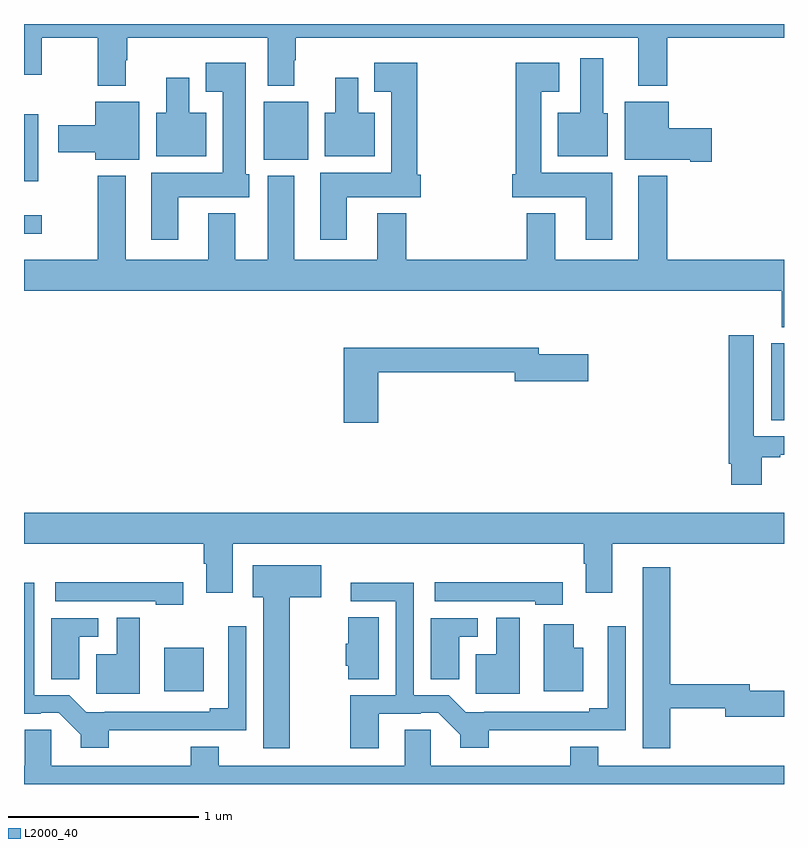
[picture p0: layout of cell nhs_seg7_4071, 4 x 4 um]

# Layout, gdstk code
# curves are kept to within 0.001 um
import gdstk
lib = gdstk.Library(unit=1e-6, precision=1e-09)
def R(c, l, rs):  # rectangles x0, y0, x1, y1
    for r in rs: c.add(gdstk.rectangle(r[:2], r[2:], *l))
def P(c, l, *ps):  # polygons
    for p in ps: c.add(gdstk.Polygon(p, *l))
L2000_40 = (2000, 40)

nhs_seg7_4071 = lib.new_cell('nhs_seg7_4071')
R(nhs_seg7_4071, L2000_40, [(369.737,1018.487,369.946,1018.717), (372.932,1019.914,373,1020.319), (369,1020.896,369.094,1020.993), (369,1021.172,369.076,1021.525), (370.262,1021.286,370.495,1021.591)])
P(nhs_seg7_4071, L2000_40, [(369.535,1021.808),(369.543,1021.808),(369.543,1021.928),(370.283,1021.928),(370.283,1021.676),(370.423,1021.676),(370.423,1021.808),(370.431,1021.808),(370.431,1021.928),(372.233,1021.928),(372.233,1021.676),(372.386,1021.676),(372.386,1021.928),(373,1021.928),(373,1022),(369,1022),(369,1021.734),(369.093,1021.734),(369.093,1021.928),(369.388,1021.928),(369.388,1021.676),(369.535,1021.676)],
  [(372.073,1021.53),(372.049,1021.53),(372.049,1021.819),(371.927,1021.819),(371.927,1021.534),(371.81,1021.534),(371.81,1021.304),(372.073,1021.304)],
  [(369.811,1021.088),(370.186,1021.088),(370.186,1021.209),(370.168,1021.209),(370.168,1021.795),(369.956,1021.795),(369.956,1021.643),(370.046,1021.643),(370.046,1021.216),(369.671,1021.216),(369.671,1020.864),(369.811,1020.864)],
  [(372.097,1021.216),(371.722,1021.216),(371.722,1021.643),(371.818,1021.643),(371.818,1021.795),(371.588,1021.795),(371.588,1021.209),(371.57,1021.209),(371.57,1021.088),(371.957,1021.088),(371.957,1020.864),(372.097,1020.864)],
  [(370.699,1021.088),(371.087,1021.088),(371.087,1021.206),(371.069,1021.206),(371.069,1021.795),(370.844,1021.795),(370.844,1021.643),(370.934,1021.643),(370.934,1021.216),(370.559,1021.216),(370.559,1020.864),(370.699,1020.864)],
  [(370.846,1021.534),(370.759,1021.534),(370.759,1021.717),(370.637,1021.717),(370.637,1021.534),(370.583,1021.534),(370.583,1021.304),(370.846,1021.304)],
  [(369.958,1021.534),(369.871,1021.534),(369.871,1021.717),(369.749,1021.717),(369.749,1021.534),(369.695,1021.534),(369.695,1021.304),(369.958,1021.304)],
  [(369.607,1021.591),(369.374,1021.591),(369.374,1021.467),(369.18,1021.467),(369.18,1021.325),(369.374,1021.325),(369.374,1021.286),(369.607,1021.286)],
  [(372.619,1021.452),(372.394,1021.452),(372.394,1021.591),(372.161,1021.591),(372.161,1021.286),(372.506,1021.286),(372.506,1021.274),(372.619,1021.274)],
  [(373,1020.76),(372.386,1020.76),(372.386,1021.201),(372.233,1021.201),(372.233,1020.76),(371.797,1020.76),(371.797,1021.003),(371.645,1021.003),(371.645,1020.76),(371.012,1020.76),(371.012,1021.003),(370.859,1021.003),(370.859,1020.76),(370.423,1020.76),(370.423,1021.201),(370.283,1021.201),(370.283,1020.76),(370.111,1020.76),(370.111,1021.003),(369.971,1021.003),(369.971,1020.76),(369.535,1020.76),(369.535,1021.201),(369.388,1021.201),(369.388,1020.76),(369,1020.76),(369,1020.596),(372.989,1020.596),(372.989,1020.404),(373,1020.404)],
  [(372.883,1019.721),(372.979,1019.721),(372.979,1019.733),(373,1019.733),(373,1019.829),(372.841,1019.829),(372.841,1020.361),(372.71,1020.361),(372.71,1019.686),(372.722,1019.686),(372.722,1019.574),(372.883,1019.574)],
  [(370.865,1020.166),(371.582,1020.166),(371.582,1020.119),(371.971,1020.119),(371.971,1020.261),(371.71,1020.261),(371.71,1020.295),(370.682,1020.295),(370.682,1019.901),(370.865,1019.901)],
  [(370.099,1019.264),(371.945,1019.264),(371.945,1019.158),(371.957,1019.158),(371.957,1019.007),(372.097,1019.007),(372.097,1019.264),(373,1019.264),(373,1019.428),(369,1019.428),(369,1019.264),(369.947,1019.264),(369.947,1019.158),(369.959,1019.158),(369.959,1019.007),(370.099,1019.007)],
  [(370.398,1018.982),(370.564,1018.982),(370.564,1019.152),(370.203,1019.152),(370.203,1018.982),(370.259,1018.982),(370.259,1018.188),(370.398,1018.188)],
  [(372.401,1018.398),(372.692,1018.398),(372.692,1018.355),(373,1018.355),(373,1018.49),(372.82,1018.49),(372.82,1018.526),(372.401,1018.526),(372.401,1019.14),(372.257,1019.14),(372.257,1018.188),(372.401,1018.188)],
  [(369.838,1019.062),(369.165,1019.062),(369.165,1018.961),(369.693,1018.961),(369.693,1018.943),(369.838,1018.943)],
  [(371.836,1019.062),(371.163,1019.062),(371.163,1018.961),(371.691,1018.961),(371.691,1018.943),(371.836,1018.943)],
  [(370.867,1018.371),(371.087,1018.371),(371.087,1018.374),(371.181,1018.374),(371.297,1018.258),(371.297,1018.19),(371.445,1018.19),(371.445,1018.283),(372.168,1018.284),(372.168,1018.831),(372.072,1018.831),(372.072,1018.4),(371.975,1018.4),(371.975,1018.38),(371.422,1018.38),(371.422,1018.377),(371.326,1018.377),(371.236,1018.467),(371.052,1018.467),(371.052,1019.06),(370.719,1019.06),(370.719,1018.962),(370.956,1018.962),(370.956,1018.467),(370.717,1018.467),(370.717,1018.188),(370.867,1018.188)],
  [(369.447,1018.283),(370.17,1018.284),(370.17,1018.831),(370.074,1018.831),(370.074,1018.4),(369.977,1018.4),(369.977,1018.38),(369.424,1018.38),(369.424,1018.377),(369.328,1018.377),(369.238,1018.467),(369.054,1018.467),(369.054,1019.06),(369,1019.06),(369,1018.371),(369.089,1018.371),(369.089,1018.374),(369.183,1018.374),(369.299,1018.258),(369.299,1018.19),(369.447,1018.19)],
  [(370.867,1018.877),(370.706,1018.877),(370.706,1018.737),(370.694,1018.737),(370.694,1018.623),(370.706,1018.623),(370.706,1018.552),(370.867,1018.552)],
  [(369.61,1018.876),(369.488,1018.876),(369.488,1018.684),(369.38,1018.684),(369.38,1018.475),(369.61,1018.475)],
  [(371.608,1018.876),(371.486,1018.876),(371.486,1018.684),(371.378,1018.684),(371.378,1018.475),(371.608,1018.475)],
  [(369.292,1018.776),(369.391,1018.776),(369.391,1018.872),(369.143,1018.872),(369.143,1018.552),(369.292,1018.552)],
  [(371.29,1018.776),(371.389,1018.776),(371.389,1018.872),(371.141,1018.872),(371.141,1018.552),(371.29,1018.552)],
  [(371.944,1018.717),(371.893,1018.717),(371.893,1018.84),(371.735,1018.84),(371.735,1018.487),(371.944,1018.487)],
  [(373,1018.096),(372.022,1018.096),(372.022,1018.195),(371.875,1018.195),(371.875,1018.096),(371.142,1018.096),(371.142,1018.286),(371.003,1018.286),(371.003,1018.096),(370.024,1018.096),(370.024,1018.195),(369.877,1018.195),(369.877,1018.096),(369.144,1018.096),(369.144,1018.286),(369.005,1018.286),(369.005,1018.096),(369,1018.096),(369,1018),(373,1018)])

lib.write_gds('nhs_seg7_4071.gds')
